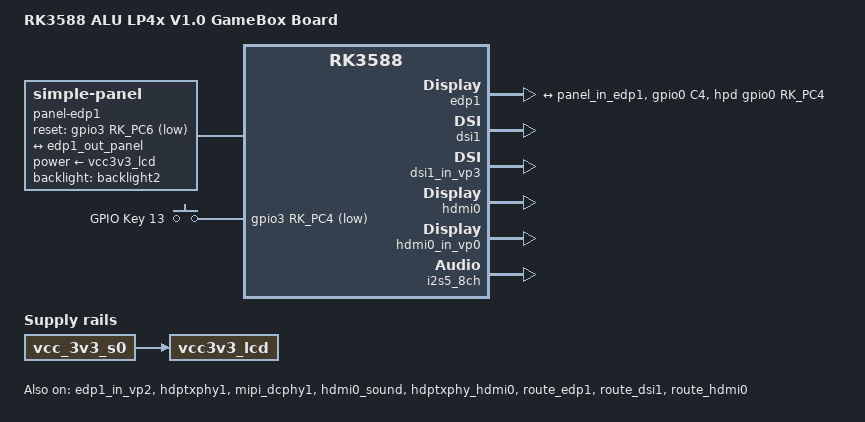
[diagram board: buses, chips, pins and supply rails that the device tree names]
// SPDX-License-Identifier: (GPL-2.0+ OR MIT)
/*
 * Copyright (c) 2021 Rockchip Electronics Co., Ltd.
 *
 */

/dts-v1/;

#include "rk3588-hugsun-dmc.dtsi"
#include "rk3588-linux.dtsi"

/ {
	model = "RK3588 ALU LP4x V1.0 GameBox Board";
	compatible = "rockchip,rk3588-dmc-alu-linux", "rockchip,rk3588";


	vcc3v3_lcd: vcc3v3-lcd {
		compatible = "regulator-fixed";
		regulator-name = "vcc3v3_lcd";
		vin-supply = <&vcc_3v3_s0>;
	};


	panel-edp1 {
		compatible = "simple-panel";
		backlight = <&backlight2>;
		power-supply = <&vcc3v3_lcd>;
		reset-gpios = <&gpio3 RK_PC6 GPIO_ACTIVE_LOW>;
		pinctrl-names = "default";
		pinctrl-0 = <&edp1_rst_gpio>;
		prepare-delay-ms = <120>;
		enable-delay-ms = <120>;
		unprepare-delay-ms = <120>;
		disable-delay-ms = <120>;

		port {
			panel_in_edp1: endpoint {
				remote-endpoint = <&edp1_out_panel>;
			};
		};
	};

	gpio_keys: gpio-keys {
		compatible = "gpio-keys";
		pinctrl-names = "default";
		pinctrl-0 = <&gpiokey>;

		gpio_key13 {
			debounce-interval = <10>;
			gpios = <&gpio3 RK_PC4 GPIO_ACTIVE_LOW>;
			label = "GPIO Key 13";
			linux,code = <KEY_ESC>;
			wakeup-source;
		};		
	};	
};

&edp1 {
	status = "okay";
	pinctrl-names = "default";
	pinctrl-0 = <&edp1_hpd>;
	hpd-gpios = <&gpio0 RK_PC4 GPIO_ACTIVE_HIGH>;

	ports {
		port@1 {
			reg = <1>;

			edp1_out_panel: endpoint {
				remote-endpoint = <&panel_in_edp1>;
			};
		};
	};
};

&edp1_in_vp2 {
	status = "okay";
};

&hdptxphy1 {
	status = "okay";
};

/*
 * mipi_dcphy1 needs to be enabled
 * when dsi1 is enabled
 */
&dsi1 {
	status = "okay";
};

&dsi1_in_vp2 {
	status = "disabled";
};

&dsi1_in_vp3 {
	status = "okay";
};

&mipi_dcphy1 {
	status = "okay";
};


&hdmi0 {
	enable-gpios = <&gpio4 RK_PB1 GPIO_ACTIVE_HIGH>;
	cec-enable = "true" ;
	status = "okay";
};

&hdmi0_in_vp0 {
	status = "okay";
};

&hdmi0_sound {
	status = "okay";
};

//hdmi01 sound
&i2s5_8ch {
	status = "okay";
};

&hdptxphy_hdmi0 {
	status = "okay";
};

&route_edp1 {
	connect = <&vp2_out_edp1>;
	status = "okay";
};

&route_dsi1 {
	status = "okay";
	connect = <&vp3_out_dsi1>;
};

&route_hdmi0 {
	status = "okay";
	connect = <&vp0_out_hdmi0>;
};

&pinctrl {
	buttons {
		gpiokey: gpiokey {
			rockchip,pins = 
				<3 RK_PC4 RK_FUNC_GPIO &pcfg_pull_up>;
		};
	};

	edp {
		edp1_hpd: edp1-hpd {
			rockchip,pins = <0 RK_PC4 0 &pcfg_pull_none>;
		};

		edp1_rst_gpio: edp1-rst-gpio {
			rockchip,pins = <3 RK_PC6 RK_FUNC_GPIO &pcfg_pull_none>;
		};
	};

};


